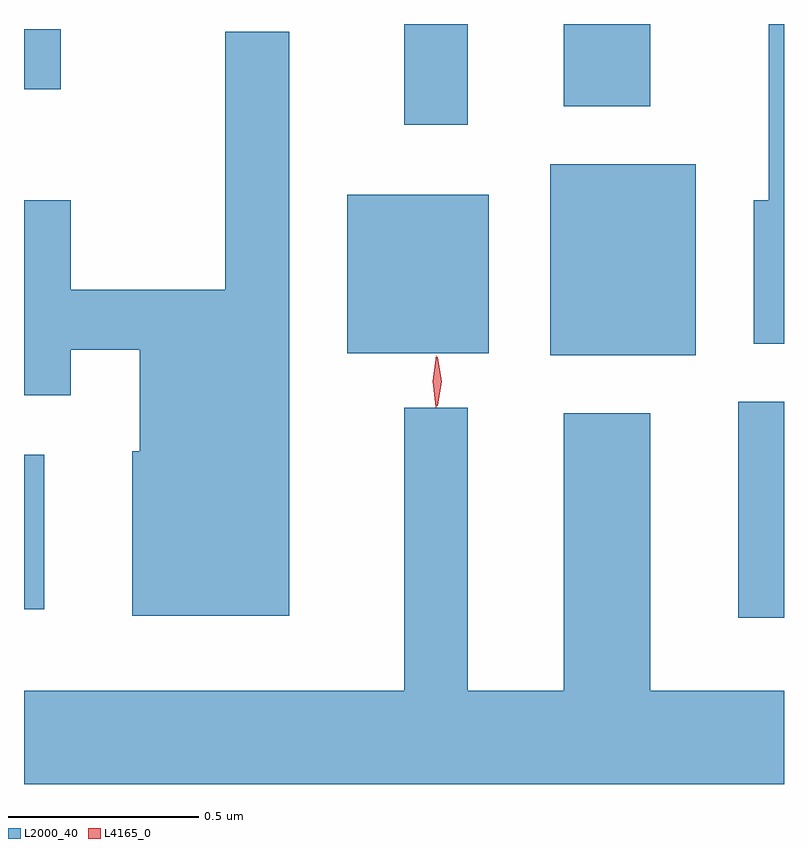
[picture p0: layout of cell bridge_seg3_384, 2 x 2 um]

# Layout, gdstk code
import gdstk
lib = gdstk.Library(unit=1e-6, precision=1e-09)
def R(c, l, rs):  # rectangles x0, y0, x1, y1
    for r in rs: c.add(gdstk.rectangle(r[:2], r[2:], *l))
def P(c, l, *ps):  # polygons
    for p in ps: c.add(gdstk.Polygon(p, *l))
L2000_40 = (2000, 40)
L4165_0 = (4165, 0)

bridge_seg3_384 = lib.new_cell('bridge_seg3_384')
R(bridge_seg3_384, L2000_40, [(671.991,1124.256,672.111,1124.824), (670.111,1124.278,670.164,1124.684), (671.496,1124.946,671.879,1125.449), (670.961,1124.951,671.334,1125.369), (671.111,1125.553,671.279,1125.818), (671.531,1125.601,671.759,1125.818), (670.111,1125.646,670.208,1125.804)])
P(bridge_seg3_384, L2000_40, [(672.111,1125.818),(672.071,1125.818),(672.071,1125.354),(672.031,1125.354),(672.031,1124.976),(672.111,1124.976)],
  [(670.809,1125.798),(670.641,1125.798),(670.641,1125.119),(670.234,1125.119),(670.234,1125.354),(670.111,1125.354),(670.111,1124.841),(670.234,1124.841),(670.234,1124.961),(670.416,1124.961),(670.416,1124.694),(670.396,1124.694),(670.396,1124.261),(670.809,1124.261)],
  [(672.111,1124.064),(671.759,1124.064),(671.759,1124.794),(671.531,1124.794),(671.531,1124.064),(671.279,1124.064),(671.279,1124.808),(671.111,1124.808),(671.111,1124.064),(670.111,1124.064),(670.111,1123.818),(672.111,1123.818)])
P(bridge_seg3_384, L4165_0, [(671.199,1124.813),(671.19,1124.877),(671.199,1124.941),(671.2,1124.942),(671.2,1124.941),(671.21,1124.877),(671.2,1124.813),(671.2,1124.813)],
  [(671.194,1124.81),(671.186,1124.878),(671.196,1124.946),(671.196,1124.946),(671.196,1124.946),(671.206,1124.878),(671.196,1124.81),(671.195,1124.81)])

lib.write_gds('bridge_seg3_384.gds')
